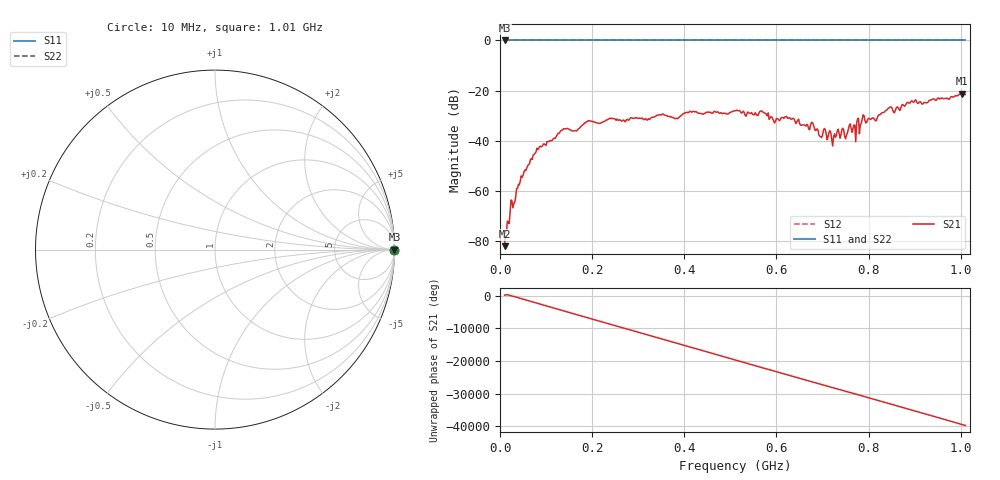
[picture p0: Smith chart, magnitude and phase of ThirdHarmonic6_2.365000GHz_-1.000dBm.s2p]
! 8/17/2025 3:39:45 AM
! C:\ANRITSUVNA\TEMP\TEMP.S2P
! CHANNEL.1
! TR.MEASUREMENT
! RAW.DATA
! RF.CORRECTION.OFF
! AVERAGING.OFF
! IF.BANDWIDTH: 5KHZ
! SWEEPTYPE:  FREQ.SWEEP(Linear)
! Reference Plane Port Info
! PORT:  PORT1  PORT2
! DISTANCE:  0  m  0  m
! TIME:  0  s  0  s
! PHASE.OFFSET:  0  deg.  0  deg.
! LOSS:  0  dB  0  dB
! REF.LOSS:  0  dB  0  dB
! REF.FREQ:  0  Hz  0  Hz
! Power Info
! POWER:  -20  dBm  -20  dBm
! EFF.POWER:  -20  dBm  -20  dBm
! SOURCE.ATTEN:  0  dB  0  dB
! TEST.ATTEN:  0  dB  0  dB
# GHZ S RI R 50.0
! FREQ.GHZ  S11RE  S11IM  S21RE  S21IM  S12RE  S12IM  S22RE  S22IM
!; PortSelection: Port_12
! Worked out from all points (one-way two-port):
!   501 points, 10 MHz to 1.01 GHz, reference 50 ohm
!   highest |S21| = -21.29 dB at 1.002 GHz (marker M1); lowest = -82.2 dB at 10 MHz (marker M2)
!   lowest |S11| = 0.0 dB at 10 MHz (marker M3)
!   |S11| at or under -10 dB: nowhere
!   |S22| runs from 0.0 to 0.0 dB; largest |S21 - S12| = 1.1
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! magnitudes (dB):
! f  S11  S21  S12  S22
! 10 MHz  0.0  -82.2  0.0  0.0
! 26 MHz  0.0  -64.1  0.0  0.0
! 40 MHz  0.0  -57.5  0.0  0.0
! 76 MHz  0.0  -45.2  0.0  0.0
! 136 MHz  0.0  -35.7  0.0  0.0
! 178 MHz  0.0  -33.9  0.0  0.0
! 344 MHz  0.0  -29.8  0.0  0.0
! 382 MHz  0.0  -31.1  0.0  0.0
! 416 MHz  0.0  -28.7  0.0  0.0
! 510 MHz  0.0  -28.1  0.0  0.0
! 678 MHz  0.0  -32.8  0.0  0.0
! 696 MHz  0.0  -38.5  0.0  0.0
! 704 MHz  0.0  -35.2  0.0  0.0
! 724 MHz  0.0  -38.5  0.0  0.0
! 730 MHz  0.0  -37.9  0.0  0.0
! 752 MHz  0.0  -37.9  0.0  0.0
! 758 MHz  0.0  -33.9  0.0  0.0
! 788 MHz  0.0  -29.7  0.0  0.0
! 816 MHz  0.0  -32.1  0.0  0.0
! 844 MHz  0.0  -27.0  0.0  0.0
! 1.002 GHz  0.0  -21.3  0.0  0.0
! 1.01 GHz  0.0  -21.6  0.0  0.0
